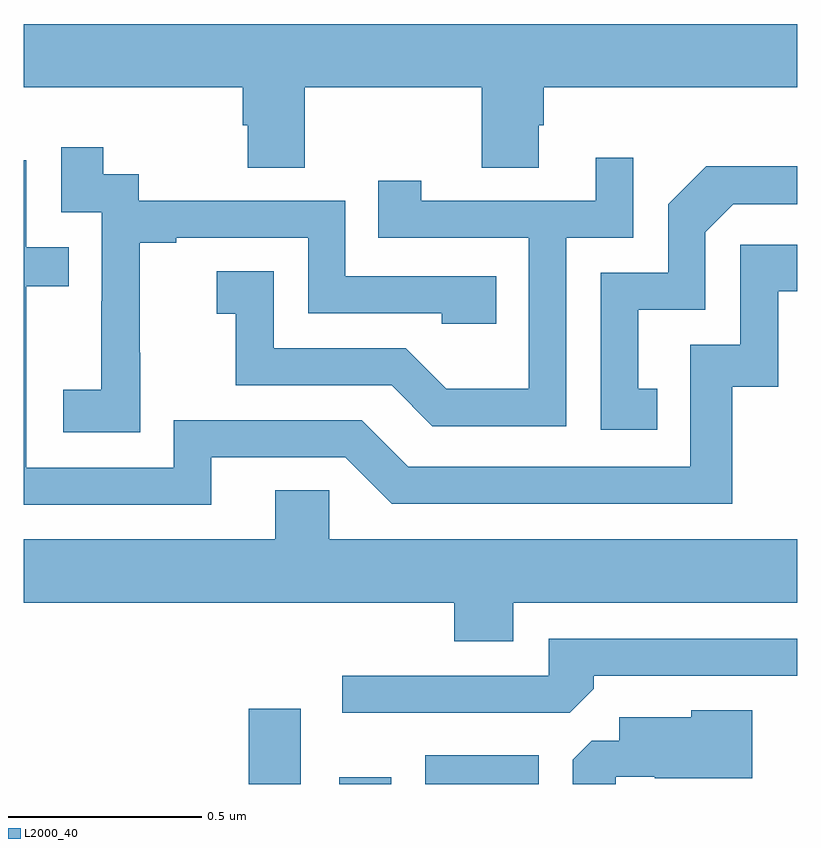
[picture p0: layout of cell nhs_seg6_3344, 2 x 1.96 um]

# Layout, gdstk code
import gdstk
lib = gdstk.Library(unit=1e-6, precision=1e-09)
def R(c, l, rs):  # rectangles x0, y0, x1, y1
    for r in rs: c.add(gdstk.rectangle(r[:2], r[2:], *l))
def P(c, l, *ps):  # polygons
    for p in ps: c.add(gdstk.Polygon(p, *l))
L2000_40 = (2000, 40)

nhs_seg6_3344 = lib.new_cell('nhs_seg6_3344')
R(nhs_seg6_3344, L2000_40, [(155.582,981.5,155.716,981.694), (155.816,981.5,155.95,981.517), (156.038,981.5,156.331,981.574)])
P(nhs_seg6_3344, L2000_40, [(155.727,983.3),(156.184,983.3),(156.184,983.092),(156.331,983.092),(156.331,983.202),(156.344,983.202),(156.344,983.3),(157,983.3),(157,983.464),(155,983.464),(155,983.3),(155.567,983.3),(155.567,983.202),(155.579,983.202),(155.579,983.092),(155.727,983.092)],
  [(155.301,982.615),(155.3,982.615),(155.3,982.899),(155.395,982.899),(155.395,982.911),(155.736,982.911),(155.736,982.716),(156.081,982.716),(156.081,982.689),(156.221,982.689),(156.221,982.812),(155.832,982.812),(155.832,983.007),(155.298,983.007),(155.298,983.076),(155.206,983.076),(155.206,983.146),(155.097,983.146),(155.097,982.977),(155.202,982.977),(155.202,982.748),(155.201,982.748),(155.201,982.519),(155.103,982.519),(155.103,982.409),(155.301,982.409)],
  [(156.402,982.911),(156.576,982.911),(156.576,983.119),(156.479,983.119),(156.479,983.007),(156.028,983.007),(156.028,983.059),(155.917,983.059),(155.917,982.911),(156.306,982.911),(156.306,982.522),(156.092,982.522),(155.988,982.626),(155.646,982.626),(155.646,982.825),(155.499,982.825),(155.499,982.715),(155.548,982.715),(155.548,982.53),(155.951,982.53),(156.056,982.425),(156.402,982.425)],
  [(155.485,982.344),(155.832,982.344),(155.952,982.224),(156.832,982.224),(156.832,982.527),(156.95,982.527),(156.95,982.773),(157,982.773),(157,982.894),(156.852,982.894),(156.852,982.635),(156.723,982.635),(156.723,982.32),(155.994,982.32),(155.874,982.44),(155.388,982.44),(155.388,982.317),(155.007,982.317),(155.007,982.786),(155.117,982.786),(155.117,982.887),(155.007,982.887),(155.007,983.112),(155,983.112),(155,982.221),(155.485,982.221)],
  [(156.638,982.521),(156.589,982.521),(156.589,982.725),(156.762,982.725),(156.762,982.926),(156.834,982.998),(157,982.998),(157,983.096),(156.764,983.096),(156.666,982.998),(156.666,982.821),(156.492,982.821),(156.492,982.416),(156.638,982.416)],
  [(156.265,981.968),(157,981.968),(157,982.132),(155.79,982.132),(155.79,982.259),(155.651,982.259),(155.651,982.132),(155,982.132),(155,981.968),(156.113,981.968),(156.113,981.869),(156.265,981.869)],
  [(156.473,981.746),(156.473,981.78),(157,981.78),(157,981.876),(156.357,981.876),(156.357,981.78),(155.823,981.78),(155.823,981.684),(156.411,981.684)],
  [(156.531,981.519),(156.631,981.519),(156.631,981.515),(156.883,981.515),(156.883,981.691),(156.726,981.691),(156.726,981.673),(156.539,981.673),(156.539,981.612),(156.468,981.612),(156.419,981.563),(156.419,981.5),(156.531,981.5)])

lib.write_gds('nhs_seg6_3344.gds')
